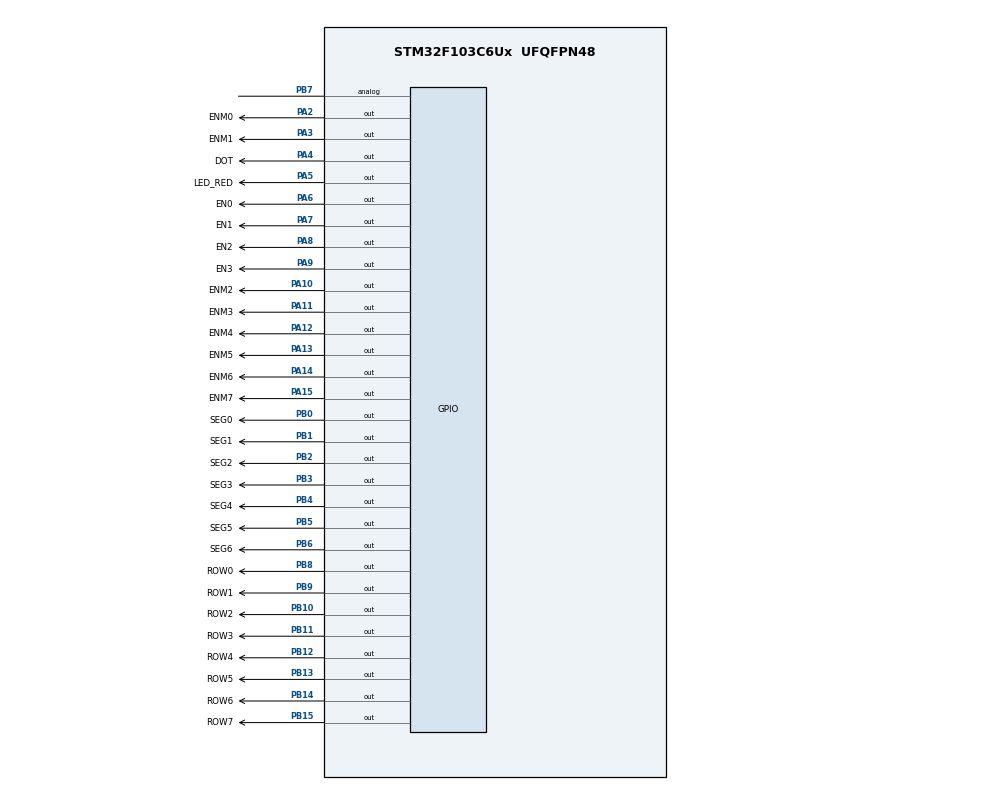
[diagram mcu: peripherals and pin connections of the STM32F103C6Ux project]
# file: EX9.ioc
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Mcu.Family=STM32F1
Mcu.Name=STM32F103C6Ux
Mcu.Package=UFQFPN48
NVIC.PriorityGroup=NVIC_PRIORITYGROUP_4
NVIC.TIM2_IRQn=true\:0\:0\:false\:false\:true\:true\:true
PA10.GPIO_Label=ENM2
PA10.Signal=GPIO_Output
PA11.GPIO_Label=ENM3
PA11.Signal=GPIO_Output
PA12.GPIO_Label=ENM4
PA12.Signal=GPIO_Output
PA13.GPIO_Label=ENM5
PA13.Signal=GPIO_Output
PA14.GPIO_Label=ENM6
PA14.Signal=GPIO_Output
PA15.GPIO_Label=ENM7
PA15.Signal=GPIO_Output
PA2.GPIO_Label=ENM0
PA2.Signal=GPIO_Output
PA3.GPIO_Label=ENM1
PA3.Signal=GPIO_Output
PA4.GPIO_Label=DOT
PA4.Signal=GPIO_Output
PA5.GPIO_Label=LED_RED
PA5.Signal=GPIO_Output
PA6.GPIO_Label=EN0
PA6.Signal=GPIO_Output
PA7.GPIO_Label=EN1
PA7.Signal=GPIO_Output
PA8.GPIO_Label=EN2
PA8.Signal=GPIO_Output
PA9.GPIO_Label=EN3
PA9.Signal=GPIO_Output
PB0.GPIO_Label=SEG0
PB0.Signal=GPIO_Output
PB1.GPIO_Label=SEG1
PB1.Signal=GPIO_Output
PB10.GPIO_Label=ROW2
PB10.Signal=GPIO_Output
PB11.GPIO_Label=ROW3
PB11.Signal=GPIO_Output
PB12.GPIO_Label=ROW4
PB12.Signal=GPIO_Output
PB13.GPIO_Label=ROW5
PB13.Signal=GPIO_Output
PB14.GPIO_Label=ROW6
PB14.Signal=GPIO_Output
PB15.GPIO_Label=ROW7
PB15.Signal=GPIO_Output
PB2.GPIO_Label=SEG2
PB2.Signal=GPIO_Output
PB3.GPIO_Label=SEG3
PB3.Signal=GPIO_Output
PB4.GPIO_Label=SEG4
PB4.Signal=GPIO_Output
PB5.GPIO_Label=SEG5
PB5.Signal=GPIO_Output
PB6.GPIO_Label=SEG6
PB6.Signal=GPIO_Output
PB7.Signal=GPIO_Analog
PB8.GPIO_Label=ROW0
PB8.Signal=GPIO_Output
PB9.GPIO_Label=ROW1
PB9.Signal=GPIO_Output
ProjectManager.HeapSize=0x200
ProjectManager.StackSize=0x400
ProjectManager.TargetToolchain=STM32CubeIDE
RCC.APB1Freq_Value=8000000
RCC.APB2Freq_Value=8000000
TIM2.Period=9
TIM2.Prescaler=799
VP_SYS_VS_ND.Mode=No_Debug
VP_TIM2_VS_ClockSourceINT.Mode=Internal
board=custom

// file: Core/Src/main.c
/* USER CODE BEGIN Header */
/**
  ******************************************************************************
  * @file           : main.c
  * @brief          : Main program body
  ******************************************************************************
  * @attention
  *
  * <h2><center>&copy; Copyright (c) 2023 STMicroelectronics.
  * All rights reserved.</center></h2>
  *
  * This software component is licensed by ST under BSD 3-Clause license,
  * the "License"; You may not use this file except in compliance with the
  * License. You may obtain a copy of the License at:
  *                        opensource.org/licenses/BSD-3-Clause
  *
  ******************************************************************************
  */
/* USER CODE END Header */
#include "main.h"

/* USER CODE BEGIN Includes */
#include "software_timer.h"
/* USER CODE END Includes */

TIM_HandleTypeDef htim2;

void SystemClock_Config(void);
static void MX_GPIO_Init(void);
static void MX_TIM2_Init(void);

int main(void)
{

  /* MCU Configuration--------------------------------------------------------*/

  /* Reset of all peripherals, Initializes the Flash interface and the Systick. */
  HAL_Init();

  /* Configure the system clock */
  SystemClock_Config();

  /* Initialize all configured peripherals */
  MX_GPIO_Init();
  MX_TIM2_Init();
  /* USER CODE BEGIN 2 */
  HAL_TIM_Base_Start_IT(&htim2);
   // LED MATRIX
       const int MAX_LED_MATRIX = 8;
       int index_led_matrix = 0;
       uint8_t matrix_buffer[8] = { 0x01, 0x02, 0x03, 0x04, 0x05, 0x06, 0x07, 0x08 };
       uint8_t matrix_Row[8] = { 0x7F, 0xBF, 0xDF, 0xEF, 0xF7, 0xFB, 0xFD, 0xFE };
       void setCol (uint8_t valCol ){
     	  HAL_GPIO_WritePin ( ENM0_GPIO_Port, ENM0_Pin, (( valCol >>7 ) & 1 )) ;
     	  HAL_GPIO_WritePin ( ENM1_GPIO_Port, ENM1_Pin, (( valCol >>6 ) & 1 )) ;
     	  HAL_GPIO_WritePin ( ENM2_GPIO_Port, ENM2_Pin, (( valCol >>5 ) & 1 )) ;
     	  HAL_GPIO_WritePin ( ENM3_GPIO_Port, ENM3_Pin, (( valCol >>4 ) & 1 )) ;
     	  HAL_GPIO_WritePin ( ENM4_GPIO_Port, ENM4_Pin, (( valCol >>3 ) & 1 )) ;
     	  HAL_GPIO_WritePin ( ENM5_GPIO_Port, ENM5_Pin, (( valCol >>2 ) & 1 )) ;
     	  HAL_GPIO_WritePin ( ENM6_GPIO_Port, ENM6_Pin, (( valCol >>1 ) & 1 )) ;
     	  HAL_GPIO_WritePin ( ENM7_GPIO_Port, ENM7_Pin, (( valCol >>0 ) & 1 )) ;
       }
       	  	  // ROW0 0    1    1    1    1    1    1    1
           	  // ROW1 1    0    1    1    1    1    1    1
           	  // ROW2 1    1    0    1    1    1    1    1
           	  // ROW3 1    1    1    0    1    1    1    1
           	  // ROW4 1    1    1    1    0    1    1    1
           	  // ROW5 1    1    1    1    1    0    1    1
           	  // ROW6 1    1    1    1    1    1    0    1
           	  // ROW7 1    1    1    1    1    1    1    0
               //     0xFF 0xC0 0x80 0x33 0x33 0x80 0xC0 0xFF
       void setRow (uint8_t valRow){
     	  HAL_GPIO_WritePin ( ROW0_GPIO_Port, ROW0_Pin, (( valRow >>7 ) & 1 )) ;
     	  HAL_GPIO_WritePin ( ROW1_GPIO_Port, ROW1_Pin, (( valRow >>6 ) & 1 )) ;
     	  HAL_GPIO_WritePin ( ROW2_GPIO_Port, ROW2_Pin, (( valRow >>5 ) & 1 )) ;
     	  HAL_GPIO_WritePin ( ROW3_GPIO_Port, ROW3_Pin, (( valRow >>4 ) & 1 )) ;
     	  HAL_GPIO_WritePin ( ROW4_GPIO_Port, ROW4_Pin, (( valRow >>3 ) & 1 )) ;
     	  HAL_GPIO_WritePin ( ROW5_GPIO_Port, ROW5_Pin, (( valRow >>2 ) & 1 )) ;
     	  HAL_GPIO_WritePin ( ROW6_GPIO_Port, ROW6_Pin, (( valRow >>1 ) & 1 )) ;
     	  HAL_GPIO_WritePin ( ROW7_GPIO_Port, ROW7_Pin, (( valRow >>0 ) & 1 )) ;
       }
       void setmatrix(){
     	  HAL_GPIO_WritePin ( ROW0_GPIO_Port, ROW0_Pin, SET ) ;
     	  HAL_GPIO_WritePin ( ROW1_GPIO_Port, ROW1_Pin, SET ) ;
     	  HAL_GPIO_WritePin ( ROW2_GPIO_Port, ROW2_Pin, SET ) ;
     	  HAL_GPIO_WritePin ( ROW3_GPIO_Port, ROW3_Pin, SET ) ;
     	  HAL_GPIO_WritePin ( ROW4_GPIO_Port, ROW4_Pin, SET ) ;
     	  HAL_GPIO_WritePin ( ROW5_GPIO_Port, ROW5_Pin, SET ) ;
     	  HAL_GPIO_WritePin ( ROW6_GPIO_Port, ROW6_Pin, SET ) ;
     	  HAL_GPIO_WritePin ( ROW7_GPIO_Port, ROW7_Pin, SET ) ;
       }
       void updateLEDMatrix (int index){
     	  setmatrix();
     	  switch ( index ) {
       	  	  case 0:
       	  		  setCol(matrix_buffer[0]);
       	  		  setRow(matrix_Row[index]);
       	  		  break ;
       	  	  case 1:
       	  		setCol(matrix_buffer[1]);
       	  		setRow(matrix_Row[index]);
       	  		  break ;
       	  	  case 2:
       	  		setCol(matrix_buffer[2]);
       	  		setRow(matrix_Row[index]);
       	  		  break ;
       	  	  case 3:
       	  		setCol(matrix_buffer[3]);
       	  		setRow(matrix_Row[index]);
       	  		  break ;
       	  	  case 4:
       	  		setCol(matrix_buffer[4]);
       	  		setRow(matrix_Row[index]);
       	  		  break ;
       	  	  case 5:
       	  		setCol(matrix_buffer[5]);
       	  		setRow(matrix_Row[index]);
       	  		  break ;
       	  	  case 6:
       	  		setCol(matrix_buffer[6]);
       	  		setRow(matrix_Row[index]);
       	  		  break ;
       	  	  case 7:
       	  		setCol(matrix_buffer[7]);
       	  		setRow(matrix_Row[index]);
       	  		  break ;
       	  	  default :
       	  		  break ;
     	  }
       }
   //  LED 7SEG
       int hour = 15 , minute = 8 , second = 50 ;
         void display7SEG( int num ){
               char LED7SEG [10] = {0xC0, 0xF9, 0xA4, 0xB0, 0x99, 0x92, 0x82, 0xF8, 0x80, 0x90 };
               for ( int i = 0; i < 7; ++ i) {
               HAL_GPIO_WritePin ( GPIOB , GPIO_PIN_0 << i , ( LED7SEG [num ] >> i ) & 1) ;}
               }
         void pinenable(int a){
             	if (a == 0){
             		HAL_GPIO_WritePin(GPIOA, EN0_Pin, RESET);
             		HAL_GPIO_WritePin(GPIOA, EN1_Pin, SET);
             		HAL_GPIO_WritePin(GPIOA, EN2_Pin, SET);
             		HAL_GPIO_WritePin(GPIOA, EN3_Pin, SET);
             	}
             	if (a == 1){
             		HAL_GPIO_WritePin(GPIOA, EN0_Pin, SET);
             		HAL_GPIO_WritePin(GPIOA, EN1_Pin, RESET);
             		HAL_GPIO_WritePin(GPIOA, EN2_Pin, SET);
             		HAL_GPIO_WritePin(GPIOA, EN3_Pin, SET);
             	}
             	if (a == 2){
             	  	HAL_GPIO_WritePin(GPIOA, EN1_Pin, SET);
             	  	HAL_GPIO_WritePin(GPIOA, EN0_Pin, SET);
             	  	HAL_GPIO_WritePin(GPIOA, EN2_Pin, RESET);
             	  	HAL_GPIO_WritePin(GPIOA, EN3_Pin, SET);
             	  	}
             	if (a == 3){
             	  	HAL_GPIO_WritePin(GPIOA, EN1_Pin, SET);
             	  	HAL_GPIO_WritePin(GPIOA, EN0_Pin, SET);
             	  	HAL_GPIO_WritePin(GPIOA, EN2_Pin, SET);
             	  	HAL_GPIO_WritePin(GPIOA, EN3_Pin, RESET);
             	  	}
             }
         const int MAX_LED = 4;
         int index_led = 0;
         int led_buffer [4] = {1 , 2 , 3 , 4};
         void updateClockBuffer(){
         	led_buffer[0] = hour / 10;
         	led_buffer[1] = hour % 10;
         	led_buffer[2] = minute / 10;
         	led_buffer[3] = minute % 10;
         }
         void update7SEG ( int index ) {
           	switch ( index ) {
           		case 0:
           			// Display the first 7 SEG with led_buffer [0]
           			display7SEG(led_buffer[0]);
           			pinenable(0);
           			break ;
           		case 1:
           			// Display the second 7 SEG with led_buffer [1]
           			display7SEG(led_buffer[1]);
           			pinenable(1);
           			break ;
           		case 2:
           			// Display the third 7 SEG with led_buffer [2]
           			display7SEG(led_buffer[2]);
           			pinenable(2);
           			break ;
           		case 3:
           			// Display the forth 7 SEG with led_buffer [3]
           			display7SEG(led_buffer[3]);
           			pinenable(3);
           	}
         }
  /* USER CODE END 2 */

  /* Infinite loop */
  /* USER CODE BEGIN WHILE */
         setTimer1(1);
           setTimer2(1);
           setTimer3(1);
           setTimer4(1000);
           while (1)
           {
         	  // DISPLAY LED MATRIX
         	  if(timer1_flag == 1){
         	  		  setTimer1(5);
         	  		  updateLEDMatrix(index_led_matrix);
         	  		  index_led_matrix++;
         	  		  if (index_led_matrix >= MAX_LED_MATRIX ) index_led_matrix = 0;
         	  }
         	  // DISPLAY LED 7SEG
         	  if(timer2_flag == 1){
         		   	  setTimer2(250);
         	  		  update7SEG(index_led);
         	  		  index_led++;
         	  		  if (index_led >= MAX_LED ) index_led = 0;
         	  }
         	  // DISPLAY LED_RED & DOT
         	  if(timer3_flag == 1){
         	  		  setTimer3(500);
         	  		  HAL_GPIO_TogglePin(GPIOA, LED_RED_Pin);
         	  		  HAL_GPIO_TogglePin(GPIOA, DOT_Pin);
         	  		  updateClockBuffer() ;
         	  	  	  }
         	  // CLOCK
         	  	  if(timer4_flag == 1){
         	  		  setTimer3(1000);
         	  		  second++;
         	  		  if ( second >= 60) {
         	  			  second = 0;
         	  			  minute ++;
         	  		  }
         	  		  if( minute >= 60) {
         	  			  minute = 0;
         	  			  hour ++;
         	  		  }
         	  		  if( hour >=24) {
         	  			  hour = 0;
         	  		  }
         	  	  }
    /* USER CODE END WHILE */

  }
}

void SystemClock_Config(void)
{
  RCC_OscInitTypeDef RCC_OscInitStruct = {0};
  RCC_ClkInitTypeDef RCC_ClkInitStruct = {0};

  /** Initializes the RCC Oscillators according to the specified parameters
  * in the RCC_OscInitTypeDef structure.
  */
  RCC_OscInitStruct.OscillatorType = RCC_OSCILLATORTYPE_HSI;
  RCC_OscInitStruct.HSIState = RCC_HSI_ON;
  RCC_OscInitStruct.HSICalibrationValue = RCC_HSICALIBRATION_DEFAULT;
  RCC_OscInitStruct.PLL.PLLState = RCC_PLL_NONE;
  if (HAL_RCC_OscConfig(&RCC_OscInitStruct) != HAL_OK)
  {
    Error_Handler();
  }
  /** Initializes the CPU, AHB and APB buses clocks
  */
  RCC_ClkInitStruct.ClockType = RCC_CLOCKTYPE_HCLK|RCC_CLOCKTYPE_SYSCLK
                              |RCC_CLOCKTYPE_PCLK1|RCC_CLOCKTYPE_PCLK2;
  RCC_ClkInitStruct.SYSCLKSource = RCC_SYSCLKSOURCE_HSI;
  RCC_ClkInitStruct.AHBCLKDivider = RCC_SYSCLK_DIV1;
  RCC_ClkInitStruct.APB1CLKDivider = RCC_HCLK_DIV1;
  RCC_ClkInitStruct.APB2CLKDivider = RCC_HCLK_DIV1;

  if (HAL_RCC_ClockConfig(&RCC_ClkInitStruct, FLASH_LATENCY_0) != HAL_OK)
  {
    Error_Handler();
  }
}

static void MX_TIM2_Init(void)
{

  TIM_ClockConfigTypeDef sClockSourceConfig = {0};
  TIM_MasterConfigTypeDef sMasterConfig = {0};

  htim2.Instance = TIM2;
  htim2.Init.Prescaler = 799;
  htim2.Init.CounterMode = TIM_COUNTERMODE_UP;
  htim2.Init.Period = 9;
  htim2.Init.ClockDivision = TIM_CLOCKDIVISION_DIV1;
  htim2.Init.AutoReloadPreload = TIM_AUTORELOAD_PRELOAD_DISABLE;
  if (HAL_TIM_Base_Init(&htim2) != HAL_OK)
  {
    Error_Handler();
  }
  sClockSourceConfig.ClockSource = TIM_CLOCKSOURCE_INTERNAL;
  if (HAL_TIM_ConfigClockSource(&htim2, &sClockSourceConfig) != HAL_OK)
  {
    Error_Handler();
  }
  sMasterConfig.MasterOutputTrigger = TIM_TRGO_RESET;
  sMasterConfig.MasterSlaveMode = TIM_MASTERSLAVEMODE_DISABLE;
  if (HAL_TIMEx_MasterConfigSynchronization(&htim2, &sMasterConfig) != HAL_OK)
  {
    Error_Handler();
  }

}

static void MX_GPIO_Init(void)
{
  GPIO_InitTypeDef GPIO_InitStruct = {0};

  /* GPIO Ports Clock Enable */
  __HAL_RCC_GPIOA_CLK_ENABLE();
  __HAL_RCC_GPIOB_CLK_ENABLE();

  /*Configure GPIO pin Output Level */
  HAL_GPIO_WritePin(GPIOA, ENM0_Pin|ENM1_Pin|DOT_Pin|LED_RED_Pin
                          |EN0_Pin|EN1_Pin|EN2_Pin|EN3_Pin
                          |ENM2_Pin|ENM3_Pin|ENM4_Pin|ENM5_Pin
                          |ENM6_Pin|ENM7_Pin, GPIO_PIN_RESET);

  /*Configure GPIO pin Output Level */
  HAL_GPIO_WritePin(GPIOB, SEG0_Pin|SEG1_Pin|SEG2_Pin|ROW2_Pin
                          |ROW3_Pin|ROW4_Pin|ROW5_Pin|ROW6_Pin
                          |ROW7_Pin|SEG3_Pin|SEG4_Pin|SEG5_Pin
                          |SEG6_Pin|ROW0_Pin|ROW1_Pin, GPIO_PIN_RESET);

  /*Configure GPIO pins : ENM0_Pin ENM1_Pin DOT_Pin LED_RED_Pin
                           EN0_Pin EN1_Pin EN2_Pin EN3_Pin
                           ENM2_Pin ENM3_Pin ENM4_Pin ENM5_Pin
                           ENM6_Pin ENM7_Pin */
  GPIO_InitStruct.Pin = ENM0_Pin|ENM1_Pin|DOT_Pin|LED_RED_Pin
                          |EN0_Pin|EN1_Pin|EN2_Pin|EN3_Pin
                          |ENM2_Pin|ENM3_Pin|ENM4_Pin|ENM5_Pin
                          |ENM6_Pin|ENM7_Pin;
  GPIO_InitStruct.Mode = GPIO_MODE_OUTPUT_PP;
  GPIO_InitStruct.Pull = GPIO_NOPULL;
  GPIO_InitStruct.Speed = GPIO_SPEED_FREQ_LOW;
  HAL_GPIO_Init(GPIOA, &GPIO_InitStruct);

  /*Configure GPIO pins : SEG0_Pin SEG1_Pin SEG2_Pin ROW2_Pin
                           ROW3_Pin ROW4_Pin ROW5_Pin ROW6_Pin
                           ROW7_Pin SEG3_Pin SEG4_Pin SEG5_Pin
                           SEG6_Pin ROW0_Pin ROW1_Pin */
  GPIO_InitStruct.Pin = SEG0_Pin|SEG1_Pin|SEG2_Pin|ROW2_Pin
                          |ROW3_Pin|ROW4_Pin|ROW5_Pin|ROW6_Pin
                          |ROW7_Pin|SEG3_Pin|SEG4_Pin|SEG5_Pin
                          |SEG6_Pin|ROW0_Pin|ROW1_Pin;
  GPIO_InitStruct.Mode = GPIO_MODE_OUTPUT_PP;
  GPIO_InitStruct.Pull = GPIO_NOPULL;
  GPIO_InitStruct.Speed = GPIO_SPEED_FREQ_LOW;
  HAL_GPIO_Init(GPIOB, &GPIO_InitStruct);

  /*Configure GPIO pin : PB7 */
  GPIO_InitStruct.Pin = GPIO_PIN_7;
  GPIO_InitStruct.Mode = GPIO_MODE_ANALOG;
  HAL_GPIO_Init(GPIOB, &GPIO_InitStruct);

}

/* USER CODE BEGIN 4 */
void HAL_TIM_PeriodElapsedCallback(TIM_HandleTypeDef *htim){
	timerRun();
}
/* USER CODE END 4 */

void Error_Handler(void)
{
  __disable_irq();
  while (1)
  {
  }
}

/************************ (C) COPYRIGHT STMicroelectronics *****END OF FILE****/
